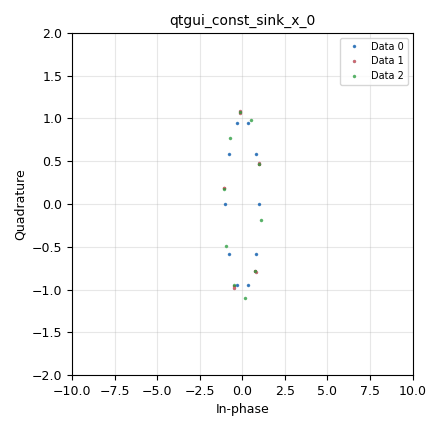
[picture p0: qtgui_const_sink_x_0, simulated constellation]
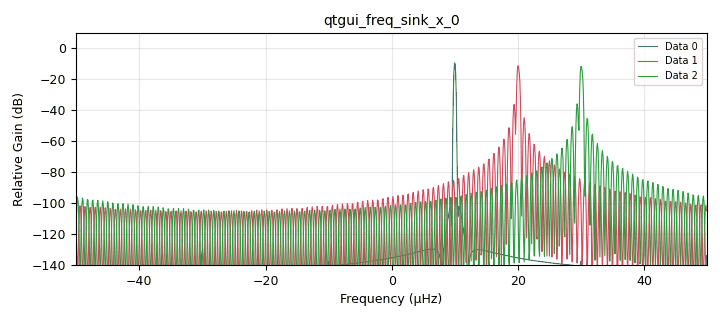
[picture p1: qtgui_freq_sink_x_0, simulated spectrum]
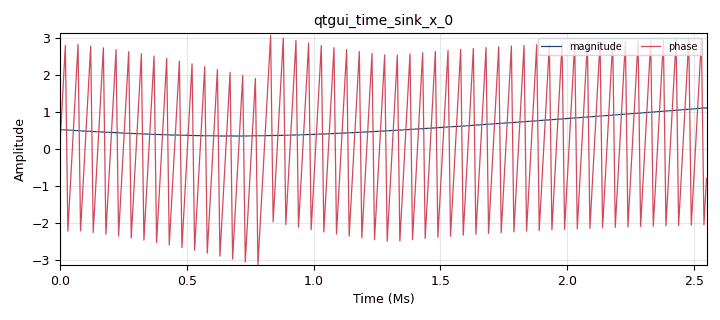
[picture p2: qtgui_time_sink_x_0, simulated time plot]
<?xml version='1.0' encoding='utf-8'?>
<?grc format='1' created='3.7.11'?>
<flow_graph>
<block>
<key>options</key>
<param><key>id</key><value>top_block</value></param>
<param><key>generate_options</key><value>qt_gui</value></param>
</block>
<block>
<key>variable_qtgui_range</key>
<param><key>id</key><value>frequency</value></param>
<param><key>value</key><value>.0000001</value></param>
<param><key>orient</key><value>Qt.Horizontal</value></param>
<param><key>start</key><value>.0000001</value></param>
<param><key>step</key><value>.0000001</value></param>
<param><key>stop</key><value>.0000100</value></param>
</block>
<block>
<key>variable</key>
<param><key>id</key><value>samp_rate</value></param>
<param><key>value</key><value>.0001</value></param>
</block>
<block>
<key>analog_sig_source_x</key>
<param><key>id</key><value>analog_sig_source_x_0</value></param>
<param><key>amp</key><value>1</value></param>
<param><key>freq</key><value>0.00001</value></param>
<param><key>offset</key><value>0</value></param>
<param><key>type</key><value>complex</value></param>
<param><key>samp_rate</key><value>samp_rate</value></param>
<param><key>waveform</key><value>analog.GR_COS_WAVE</value></param>
</block>
<block>
<key>analog_sig_source_x</key>
<param><key>id</key><value>analog_sig_source_x_0_0</value></param>
<param><key>amp</key><value>1</value></param>
<param><key>freq</key><value>0.00002</value></param>
<param><key>offset</key><value>0</value></param>
<param><key>type</key><value>complex</value></param>
<param><key>samp_rate</key><value>samp_rate</value></param>
<param><key>waveform</key><value>analog.GR_SIN_WAVE</value></param>
</block>
<block>
<key>analog_sig_source_x</key>
<param><key>id</key><value>analog_sig_source_x_0_0_0</value></param>
<param><key>amp</key><value>1</value></param>
<param><key>freq</key><value>0.0000002</value></param>
<param><key>offset</key><value>0</value></param>
<param><key>type</key><value>complex</value></param>
<param><key>samp_rate</key><value>samp_rate</value></param>
<param><key>waveform</key><value>analog.GR_TRI_WAVE</value></param>
</block>
<block>
<key>blocks_complex_to_magphase</key>
<param><key>id</key><value>blocks_complex_to_magphase_0</value></param>
</block>
<block>
<key>blocks_copy</key>
<param><key>id</key><value>blocks_copy_0</value></param>
<param><key>enabled</key><value>True</value></param>
<param><key>showports</key><value>True</value></param>
<param><key>type</key><value>complex</value></param>
</block>
<block>
<key>blocks_copy</key>
<param><key>id</key><value>blocks_copy_0_0</value></param>
<param><key>enabled</key><value>True</value></param>
<param><key>showports</key><value>True</value></param>
<param><key>type</key><value>complex</value></param>
</block>
<block>
<key>blocks_copy</key>
<param><key>id</key><value>blocks_copy_0_1</value></param>
<param><key>enabled</key><value>True</value></param>
<param><key>showports</key><value>True</value></param>
<param><key>type</key><value>complex</value></param>
</block>
<block>
<key>blocks_multiply_xx</key>
<param><key>id</key><value>blocks_multiply_xx_0</value></param>
<param><key>type</key><value>complex</value></param>
</block>
<block>
<key>blocks_multiply_xx</key>
<param><key>id</key><value>blocks_multiply_xx_0_0</value></param>
<param><key>type</key><value>complex</value></param>
</block>
<block>
<key>qtgui_const_sink_x</key>
<param><key>id</key><value>qtgui_const_sink_x_0</value></param>
<param><key>gui_hint</key><value>source</value></param>
<param><key>grid</key><value>True</value></param>
<param><key>nconnections</key><value>3</value></param>
<param><key>size</key><value>10</value></param>
<param><key>type</key><value>complex</value></param>
<param><key>xmax</key><value>10</value></param>
<param><key>xmin</key><value>-10</value></param>
</block>
<block>
<key>qtgui_freq_sink_x</key>
<param><key>id</key><value>qtgui_freq_sink_x_0</value></param>
<param><key>bw</key><value>samp_rate</value></param>
<param><key>fc</key><value>0</value></param>
<param><key>fftsize</key><value>1024</value></param>
<param><key>label2</key><value></value></param>
<param><key>label3</key><value></value></param>
<param><key>nconnections</key><value>3</value></param>
<param><key>showports</key><value>True</value></param>
<param><key>type</key><value>complex</value></param>
<param><key>wintype</key><value>firdes.WIN_BLACKMAN_hARRIS</value></param>
</block>
<block>
<key>qtgui_time_sink_x</key>
<param><key>id</key><value>qtgui_time_sink_x_0</value></param>
<param><key>gui_hint</key><value>source</value></param>
<param><key>grid</key><value>True</value></param>
<param><key>alpha1</key><value>2.0</value></param>
<param><key>color1</key><value>"blue"</value></param>
<param><key>label1</key><value>magnitude</value></param>
<param><key>alpha2</key><value>2.0 * 3.14169</value></param>
<param><key>color2</key><value>"red"</value></param>
<param><key>label2</key><value>phase</value></param>
<param><key>nconnections</key><value>2</value></param>
<param><key>size</key><value>256</value></param>
<param><key>srate</key><value>samp_rate</value></param>
<param><key>type</key><value>float</value></param>
<param><key>ymax</key><value>3.14</value></param>
<param><key>ymin</key><value>-3.14</value></param>
</block>
<block>
<key>qtgui_tab_widget</key>
<param><key>id</key><value>source</value></param>
<param><key>label0</key><value>time</value></param>
<param><key>label1</key><value>constellation</value></param>
<param><key>num_tabs</key><value>2</value></param>
</block>
<connection><source_block_id>analog_sig_source_x_0</source_block_id><sink_block_id>blocks_copy_0</sink_block_id><source_key>0</source_key><sink_key>0</sink_key></connection>
<connection><source_block_id>analog_sig_source_x_0</source_block_id><sink_block_id>blocks_multiply_xx_0</sink_block_id><source_key>0</source_key><sink_key>0</sink_key></connection>
<connection><source_block_id>analog_sig_source_x_0_0</source_block_id><sink_block_id>blocks_multiply_xx_0_0</sink_block_id><source_key>0</source_key><sink_key>0</sink_key></connection>
<connection><source_block_id>analog_sig_source_x_0_0_0</source_block_id><sink_block_id>blocks_multiply_xx_0_0</sink_block_id><source_key>0</source_key><sink_key>1</sink_key></connection>
<connection><source_block_id>blocks_complex_to_magphase_0</source_block_id><sink_block_id>qtgui_time_sink_x_0</sink_block_id><source_key>0</source_key><sink_key>0</sink_key></connection>
<connection><source_block_id>blocks_complex_to_magphase_0</source_block_id><sink_block_id>qtgui_time_sink_x_0</sink_block_id><source_key>1</source_key><sink_key>1</sink_key></connection>
<connection><source_block_id>blocks_copy_0</source_block_id><sink_block_id>qtgui_const_sink_x_0</sink_block_id><source_key>0</source_key><sink_key>0</sink_key></connection>
<connection><source_block_id>blocks_copy_0</source_block_id><sink_block_id>qtgui_freq_sink_x_0</sink_block_id><source_key>0</source_key><sink_key>0</sink_key></connection>
<connection><source_block_id>blocks_copy_0_0</source_block_id><sink_block_id>qtgui_const_sink_x_0</sink_block_id><source_key>0</source_key><sink_key>1</sink_key></connection>
<connection><source_block_id>blocks_copy_0_0</source_block_id><sink_block_id>qtgui_freq_sink_x_0</sink_block_id><source_key>0</source_key><sink_key>1</sink_key></connection>
<connection><source_block_id>blocks_copy_0_1</source_block_id><sink_block_id>qtgui_const_sink_x_0</sink_block_id><source_key>0</source_key><sink_key>2</sink_key></connection>
<connection><source_block_id>blocks_copy_0_1</source_block_id><sink_block_id>qtgui_freq_sink_x_0</sink_block_id><source_key>0</source_key><sink_key>2</sink_key></connection>
<connection><source_block_id>blocks_multiply_xx_0</source_block_id><sink_block_id>blocks_copy_0_1</sink_block_id><source_key>0</source_key><sink_key>0</sink_key></connection>
<connection><source_block_id>blocks_multiply_xx_0_0</source_block_id><sink_block_id>blocks_complex_to_magphase_0</sink_block_id><source_key>0</source_key><sink_key>0</sink_key></connection>
<connection><source_block_id>blocks_multiply_xx_0_0</source_block_id><sink_block_id>blocks_copy_0_0</sink_block_id><source_key>0</source_key><sink_key>0</sink_key></connection>
<connection><source_block_id>blocks_multiply_xx_0_0</source_block_id><sink_block_id>blocks_multiply_xx_0</sink_block_id><source_key>0</source_key><sink_key>1</sink_key></connection>
</flow_graph>
